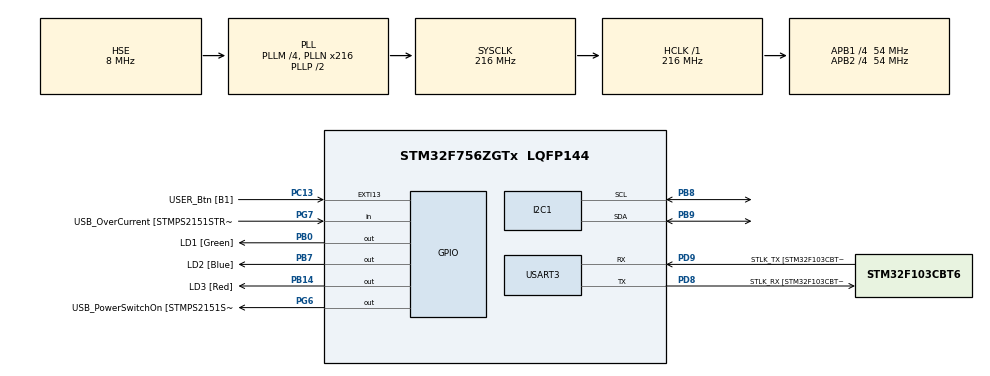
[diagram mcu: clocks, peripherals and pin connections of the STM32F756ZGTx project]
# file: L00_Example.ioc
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I2C1.Timing=0x20404768
Mcu.Family=STM32F7
Mcu.Name=STM32F756ZGTx
Mcu.Package=LQFP144
NVIC.PriorityGroup=NVIC_PRIORITYGROUP_4
PA1.GPIO_Label=RMII_REF_CLK [LAN8742A-CZ-TR_REFCLK0]
PA1.Signal=ETH_REF_CLK
PA10.GPIO_Label=USB_ID
PA10.Signal=USB_OTG_FS_ID
PA11.GPIO_Label=USB_DM
PA11.Signal=USB_OTG_FS_DM
PA12.GPIO_Label=USB_DP
PA12.Signal=USB_OTG_FS_DP
PA13.GPIO_Label=TMS
PA13.Mode=Serial_Wire
PA13.Signal=SYS_JTMS-SWDIO
PA14.GPIO_Label=TCK
PA14.Mode=Serial_Wire
PA14.Signal=SYS_JTCK-SWCLK
PA2.GPIO_Label=RMII_MDIO [LAN8742A-CZ-TR_MDIO]
PA2.Signal=ETH_MDIO
PA7.GPIO_Label=RMII_CRS_DV [LAN8742A-CZ-TR_CRS_DV]
PA7.Signal=ETH_CRS_DV
PA8.GPIO_Label=USB_SOF [TP1]
PA8.Signal=USB_OTG_FS_SOF
PA9.GPIO_Label=USB_VBUS
PA9.Signal=USB_OTG_FS_VBUS
PB0.GPIO_Label=LD1 [Green]
PB0.Signal=GPIO_Output
PB13.GPIO_Label=RMII_TXD1 [LAN8742A-CZ-TR_TXD1]
PB13.Signal=ETH_TXD1
PB14.GPIO_Label=LD3 [Red]
PB14.Signal=GPIO_Output
PB3.GPIO_Label=SW0
PB3.Signal=SYS_JTDO-SWO
PB7.GPIO_Label=LD2 [Blue]
PB7.Signal=GPIO_Output
PB8.Mode=I2C
PB8.Signal=I2C1_SCL
PB9.Mode=I2C
PB9.Signal=I2C1_SDA
PC1.GPIO_Label=RMII_MDC [LAN8742A-CZ-TR_MDC]
PC1.Signal=ETH_MDC
PC13.GPIO_Label=USER_Btn [B1]
PC13.Signal=GPXTI13
PC14/OSC32_IN.Mode=LSE-External-Oscillator
PC14/OSC32_IN.Signal=RCC_OSC32_IN
PC15/OSC32_OUT.Mode=LSE-External-Oscillator
PC15/OSC32_OUT.Signal=RCC_OSC32_OUT
PC4.GPIO_Label=RMII_RXD0 [LAN8742A-CZ-TR_RXD0]
PC4.Signal=ETH_RXD0
PC5.GPIO_Label=RMII_RXD1 [LAN8742A-CZ-TR_RXD1]
PC5.Signal=ETH_RXD1
PD8.GPIO_Label=STLK_RX [STM32F103CBT6_PA3]
PD8.Mode=Asynchronous
PD8.Signal=USART3_TX
PD9.GPIO_Label=STLK_TX [STM32F103CBT6_PA2]
PD9.Mode=Asynchronous
PD9.Signal=USART3_RX
PG11.GPIO_Label=RMII_TX_EN [LAN8742A-CZ-TR_TXEN]
PG11.Signal=ETH_TX_EN
PG13.GPIO_Label=RMII_TXD0 [LAN8742A-CZ-TR_TXD0]
PG13.Signal=ETH_TXD0
PG6.GPIO_Label=USB_PowerSwitchOn [STMPS2151STR_EN]
PG6.Signal=GPIO_Output
PG7.GPIO_Label=USB_OverCurrent [STMPS2151STR_FAULT]
PG7.Signal=GPIO_Input
PH0/OSC_IN.GPIO_Label=MCO [STM32F103CBT6_PA8]
PH0/OSC_IN.Mode=HSE-External-Clock-Source
PH0/OSC_IN.Signal=RCC_OSC_IN
PH1/OSC_OUT.Mode=HSE-External-Clock-Source
PH1/OSC_OUT.Signal=RCC_OSC_OUT
ProjectManager.HeapSize=0x200
ProjectManager.StackSize=0x400
ProjectManager.TargetToolchain=STM32CubeIDE
RCC.48MHZClocksFreq_Value=24000000
RCC.AHBFreq_Value=216000000
RCC.APB1CLKDivider=RCC_HCLK_DIV4
RCC.APB1Freq_Value=54000000
RCC.APB1TimFreq_Value=108000000
RCC.APB2CLKDivider=RCC_HCLK_DIV4
RCC.APB2Freq_Value=54000000
RCC.APB2TimFreq_Value=108000000
RCC.CortexFreq_Value=216000000
RCC.HCLKFreq_Value=216000000
RCC.HSE_VALUE=8000000
RCC.HSI_VALUE=16000000
RCC.PLLM=4
RCC.PLLMUL=RCC_PLL_MUL9
RCC.PLLN=216
RCC.PLLQ=3
RCC.PLLSourceVirtual=RCC_PLLSOURCE_HSE
RCC.PRESCALERUSB=RCC_USBCLKSOURCE_PLL_DIV1_5
RCC.SYSCLKFreq_VALUE=216000000
RCC.SYSCLKSource=RCC_SYSCLKSOURCE_PLLCLK
RCC.SYSCLKSourceVirtual=RCC_SYSCLKSOURCE_PLLCLK
RCC.USBFreq_Value=144000000
RCC.VCOOutputFreq_Value=432000000
USART3.VirtualMode-Asynchronous=VM_ASYNC
board=NUCLEO-F756ZG

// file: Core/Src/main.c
/* USER CODE BEGIN Header */
/**
  ******************************************************************************
  * @file           : main.c
  * @brief          : Main program body
  ******************************************************************************
  * @attention
  *
  * Copyright (c) 2025 STMicroelectronics.
  * All rights reserved.
  *
  * This software is licensed under terms that can be found in the LICENSE file
  * in the root directory of this software component.
  * If no LICENSE file comes with this software, it is provided AS-IS.
  *
  ******************************************************************************
  */
/* USER CODE END Header */
#include "main.h"
#include "i2c.h"
#include "usart.h"
#include "gpio.h"

/* USER CODE BEGIN PV */
_Bool LD4_State, LD5_State, LD6_State;   //< External LED states (0 = off, 1 = on)
_Bool PULL_UP_Btn_State, PULL_UP_Btn_StatePrev = 1; //< External pull-up button
                                                    // state (current and previous)
_Bool PULL_UP_Btn_EdgeDetected = 0;
/* USER CODE END PV */

void SystemClock_Config(void);

int main(void)
{

  /* MCU Configuration--------------------------------------------------------*/

  /* Reset of all peripherals, Initializes the Flash interface and the Systick. */
  HAL_Init();

  /* Configure the system clock */
  SystemClock_Config();

  /* Initialize all configured peripherals */
  MX_GPIO_Init();
  MX_I2C1_Init();
  MX_USART3_UART_Init();

  /* Infinite loop */
  /* USER CODE BEGIN WHILE */
  while (1)
  {
    // Read PULL UP button
    PULL_UP_Btn_State = HAL_GPIO_ReadPin(PULL_UP_Btn_GPIO_Port, PULL_UP_Btn_Pin);
    // Check for falling edge
    if(PULL_UP_Btn_State == 0 && PULL_UP_Btn_StatePrev == 1)
      PULL_UP_Btn_EdgeDetected = 1;
    // Remember state
    PULL_UP_Btn_StatePrev = PULL_UP_Btn_State;

   // If edge detected - perform action (LED toggle)
   if(PULL_UP_Btn_EdgeDetected)
   {
     PULL_UP_Btn_EdgeDetected = 0;
     HAL_GPIO_TogglePin(LD4_GPIO_Port, LD4_Pin);
     LD4_State = HAL_GPIO_ReadPin(LD4_GPIO_Port, LD4_Pin);
     HAL_GPIO_TogglePin(LD5_GPIO_Port, LD5_Pin);
     LD5_State = HAL_GPIO_ReadPin(LD5_GPIO_Port, LD5_Pin);
     HAL_GPIO_TogglePin(LD6_GPIO_Port, LD6_Pin);
     LD6_State = HAL_GPIO_ReadPin(LD6_GPIO_Port, LD6_Pin);
   }

   // Wait for 10 milliseconds
   HAL_Delay(9);

    /* USER CODE END WHILE */

  }
}

void SystemClock_Config(void)
{
  RCC_OscInitTypeDef RCC_OscInitStruct = {0};
  RCC_ClkInitTypeDef RCC_ClkInitStruct = {0};

  /** Configure LSE Drive Capability
  */
  HAL_PWR_EnableBkUpAccess();

  /** Configure the main internal regulator output voltage
  */
  __HAL_RCC_PWR_CLK_ENABLE();
  __HAL_PWR_VOLTAGESCALING_CONFIG(PWR_REGULATOR_VOLTAGE_SCALE1);

  /** Initializes the RCC Oscillators according to the specified parameters
  * in the RCC_OscInitTypeDef structure.
  */
  RCC_OscInitStruct.OscillatorType = RCC_OSCILLATORTYPE_HSE;
  RCC_OscInitStruct.HSEState = RCC_HSE_BYPASS;
  RCC_OscInitStruct.PLL.PLLState = RCC_PLL_ON;
  RCC_OscInitStruct.PLL.PLLSource = RCC_PLLSOURCE_HSE;
  RCC_OscInitStruct.PLL.PLLM = 4;
  RCC_OscInitStruct.PLL.PLLN = 216;
  RCC_OscInitStruct.PLL.PLLP = RCC_PLLP_DIV2;
  RCC_OscInitStruct.PLL.PLLQ = 3;
  if (HAL_RCC_OscConfig(&RCC_OscInitStruct) != HAL_OK)
  {
    Error_Handler();
  }

  /** Activate the Over-Drive mode
  */
  if (HAL_PWREx_EnableOverDrive() != HAL_OK)
  {
    Error_Handler();
  }

  /** Initializes the CPU, AHB and APB buses clocks
  */
  RCC_ClkInitStruct.ClockType = RCC_CLOCKTYPE_HCLK|RCC_CLOCKTYPE_SYSCLK
                              |RCC_CLOCKTYPE_PCLK1|RCC_CLOCKTYPE_PCLK2;
  RCC_ClkInitStruct.SYSCLKSource = RCC_SYSCLKSOURCE_PLLCLK;
  RCC_ClkInitStruct.AHBCLKDivider = RCC_SYSCLK_DIV1;
  RCC_ClkInitStruct.APB1CLKDivider = RCC_HCLK_DIV4;
  RCC_ClkInitStruct.APB2CLKDivider = RCC_HCLK_DIV4;

  if (HAL_RCC_ClockConfig(&RCC_ClkInitStruct, FLASH_LATENCY_7) != HAL_OK)
  {
    Error_Handler();
  }
}

void Error_Handler(void)
{
  __disable_irq();
  while (1)
  {
  }
}
